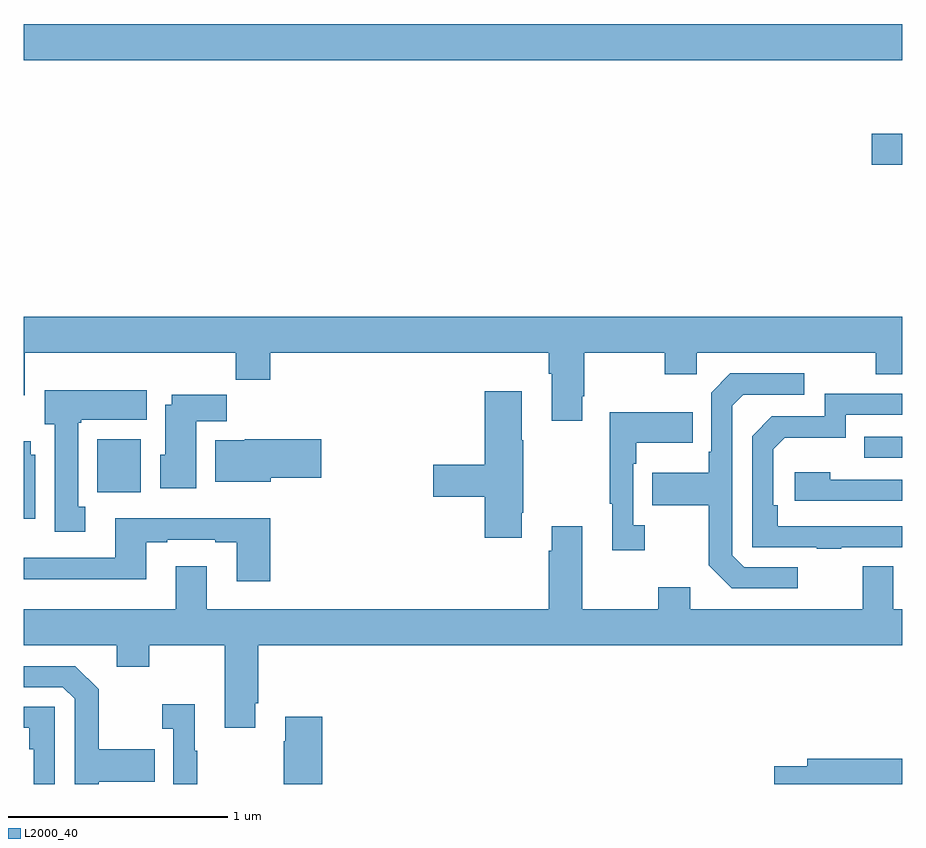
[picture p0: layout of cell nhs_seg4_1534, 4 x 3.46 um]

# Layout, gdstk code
import gdstk
lib = gdstk.Library(unit=1e-6, precision=1e-09)
def R(c, l, rs):  # rectangles x0, y0, x1, y1
    for r in rs: c.add(gdstk.rectangle(r[:2], r[2:], *l))
def P(c, l, *ps):  # polygons
    for p in ps: c.add(gdstk.Polygon(p, *l))
L2000_40 = (2000, 40)

nhs_seg4_1534 = lib.new_cell('nhs_seg4_1534')
R(nhs_seg4_1534, L2000_40, [(191.336,752.228,191.533,752.47), (194.827,752.385,195,752.481), (194.862,753.719,195,753.861), (191,754.196,195,754.36)])
P(nhs_seg4_1534, L2000_40, [(193.543,752.665),(193.551,752.665),(193.551,752.864),(193.918,752.864),(193.918,752.765),(194.064,752.765),(194.064,752.864),(194.878,752.864),(194.878,752.765),(195,752.765),(195,753.028),(191,753.028),(191,752.67),(191.005,752.67),(191.005,752.864),(191.965,752.864),(191.965,752.74),(192.122,752.74),(192.122,752.864),(193.391,752.864),(193.391,752.768),(193.403,752.768),(193.403,752.553),(193.543,752.553)],
  [(194.524,751.887),(194.28,751.887),(194.226,751.941),(194.226,752.622),(194.277,752.673),(194.554,752.673),(194.554,752.769),(194.217,752.769),(194.13,752.682),(194.13,752.413),(194.118,752.413),(194.118,752.317),(193.861,752.317),(193.861,752.17),(194.118,752.17),(194.118,751.897),(194.223,751.791),(194.524,751.791)],
  [(191.281,752.162),(191.248,752.162),(191.248,752.545),(191.262,752.545),(191.262,752.558),(191.56,752.558),(191.56,752.692),(191.096,752.692),(191.096,752.538),(191.141,752.538),(191.141,752.049),(191.281,752.049)],
  [(193.267,752.134),(193.275,752.134),(193.275,752.465),(193.267,752.465),(193.267,752.689),(193.1,752.689),(193.1,752.354),(192.864,752.354),(192.864,752.207),(193.1,752.207),(193.1,752.022),(193.267,752.022)],
  [(194.723,751.977),(195,751.977),(195,752.073),(194.432,752.073),(194.432,752.17),(194.412,752.17),(194.412,752.424),(194.465,752.477),(194.742,752.477),(194.742,752.58),(195,752.58),(195,752.676),(194.646,752.676),(194.646,752.574),(194.406,752.574),(194.316,752.484),(194.316,751.977),(194.611,751.977),(194.611,751.972),(194.723,751.972)],
  [(191.785,752.552),(191.924,752.552),(191.924,752.671),(191.675,752.671),(191.675,752.626),(191.645,752.626),(191.645,752.4),(191.621,752.4),(191.621,752.246),(191.785,752.246)],
  [(193.828,752.078),(193.776,752.078),(193.776,752.357),(193.789,752.357),(193.789,752.453),(194.045,752.453),(194.045,752.593),(193.668,752.593),(193.668,752.177),(193.679,752.177),(193.679,751.965),(193.828,751.965)],
  [(192.124,752.294),(192.355,752.294),(192.355,752.47),(192.006,752.47),(192.006,752.464),(191.873,752.464),(191.873,752.276),(192.124,752.276)],
  [(191.053,752.4),(191.032,752.4),(191.032,752.461),(191,752.461),(191,752.108),(191.053,752.108)],
  [(195,752.286),(194.672,752.286),(194.672,752.32),(194.511,752.32),(194.511,752.19),(195,752.19)],
  [(192.122,752.11),(191.417,752.11),(191.417,751.929),(191,751.929),(191,751.832),(191.557,751.832),(191.557,752.001),(191.653,752.001),(191.653,752.013),(191.873,752.013),(191.873,752.001),(191.969,752.001),(191.969,751.824),(192.122,751.824)],
  [(192.055,751.267),(192.068,751.267),(192.068,751.532),(195,751.532),(195,751.696),(194.959,751.696),(194.959,751.891),(194.819,751.891),(194.819,751.696),(194.035,751.696),(194.035,751.795),(193.888,751.795),(193.888,751.696),(193.543,751.696),(193.543,752.074),(193.403,752.074),(193.403,751.961),(193.391,751.961),(193.391,751.696),(191.833,751.696),(191.833,751.891),(191.693,751.891),(191.693,751.696),(191,751.696),(191,751.532),(191.423,751.532),(191.423,751.433),(191.571,751.433),(191.571,751.532),(191.915,751.532),(191.915,751.155),(192.055,751.155)],
  [(191.341,750.911),(191.597,750.911),(191.597,751.059),(191.341,751.059),(191.341,751.331),(191.235,751.437),(191,751.437),(191,751.341),(191.178,751.341),(191.232,751.287),(191.232,750.9),(191.341,750.9)],
  [(191.791,751.051),(191.779,751.051),(191.779,751.264),(191.631,751.264),(191.631,751.151),(191.682,751.151),(191.682,750.9),(191.791,750.9)],
  [(191.142,751.251),(191,751.251),(191,751.155),(191.026,751.155),(191.026,751.058),(191.046,751.058),(191.046,750.9),(191.142,750.9)],
  [(192.359,751.207),(192.191,751.207),(192.191,751.094),(192.184,751.094),(192.184,750.9),(192.359,750.9)],
  [(195,751.016),(194.567,751.016),(194.567,750.98),(194.418,750.98),(194.418,750.9),(195,750.9)])

lib.write_gds('nhs_seg4_1534.gds')
